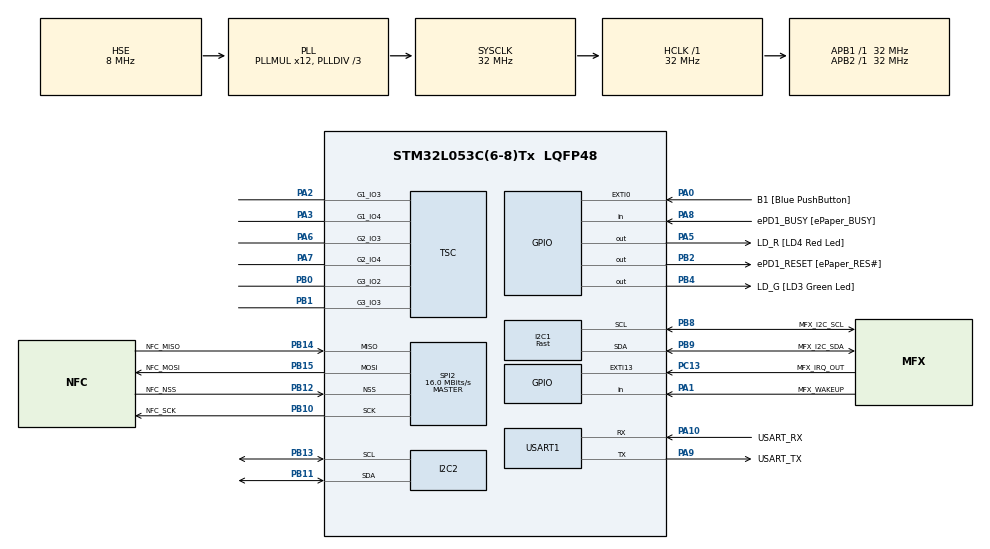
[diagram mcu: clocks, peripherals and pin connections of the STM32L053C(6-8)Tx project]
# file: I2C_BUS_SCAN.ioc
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I2C1.I2C_Speed_Mode=I2C_Fast
I2C1.Speed=400
I2C1.Timing=0x00300F38
I2C2.Timing=0x00707CBB
Mcu.Family=STM32L0
Mcu.Name=STM32L053C(6-8)Tx
Mcu.Package=LQFP48
PA0.GPIO_Label=B1 [Blue PushButton]
PA0.GPIO_ModeDefaultEXTI=GPIO_MODE_EVT_RISING
PA0.GPIO_PuPd=GPIO_NOPULL
PA0.Signal=GPXTI0
PA1.GPIO_Label=MFX_WAKEUP
PA1.Signal=GPIO_Input
PA10.GPIO_Label=USART_RX
PA10.Mode=Asynchronous
PA10.Signal=USART1_RX
PA11.GPIO_Label=USB1_DM
PA11.Signal=USB_DM
PA12.GPIO_Label=USB1_DP
PA12.Signal=USB_DP
PA13.GPIO_Label=SWDIO
PA13.Mode=Serial_Wire
PA13.Signal=SYS_SWDIO
PA14.GPIO_Label=SWCLK
PA14.Mode=Serial_Wire
PA14.Signal=SYS_SWCLK
PA15.GPIO_Label=ePD1_CS [ePaper_CS\#]
PA15.GPIO_Mode=GPIO_MODE_AF_PP
PA15.GPIO_PuPd=GPIO_NOPULL
PA15.GPIO_Speed=GPIO_SPEED_FREQ_LOW
PA15.Signal=SPI1_NSS
PA2.Mode=G1_IO3-Channel
PA2.Signal=TSC_G1_IO3
PA3.Mode=G1_IO4-Sampling
PA3.Signal=TSC_G1_IO4
PA5.GPIO_Label=LD_R [LD4 Red Led]
PA5.GPIO_ModeDefaultOutputPP=GPIO_MODE_OUTPUT_PP
PA5.GPIO_PuPd=GPIO_NOPULL
PA5.GPIO_Speed=GPIO_SPEED_FREQ_LOW
PA5.Signal=GPIO_Output
PA6.Mode=G2_IO3-Channel
PA6.Signal=TSC_G2_IO3
PA7.Mode=G2_IO4-Sampling
PA7.Signal=TSC_G2_IO4
PA8.GPIO_Label=ePD1_BUSY [ePaper_BUSY]
PA8.GPIO_Mode=GPIO_MODE_INPUT
PA8.GPIO_PuPd=GPIO_NOPULL
PA8.Signal=GPIO_Input
PA9.GPIO_Label=USART_TX
PA9.Mode=Asynchronous
PA9.Signal=USART1_TX
PB0.Mode=G3_IO2-Channel
PB0.Signal=TSC_G3_IO2
PB1.Mode=G3_IO3-Sampling
PB1.Signal=TSC_G3_IO3
PB10.GPIO_Label=NFC_SCK
PB10.Mode=Full_Duplex_Master
PB10.Signal=SPI2_SCK
PB11.Mode=I2C
PB11.Signal=I2C2_SDA
PB12.GPIO_Label=NFC_NSS
PB12.Mode=NSS_Signal_Hard_Input
PB12.Signal=SPI2_NSS
PB13.Mode=I2C
PB13.Signal=I2C2_SCL
PB14.GPIO_Label=NFC_MISO
PB14.Mode=Full_Duplex_Master
PB14.Signal=SPI2_MISO
PB15.GPIO_Label=NFC_MOSI
PB15.Mode=Full_Duplex_Master
PB15.Signal=SPI2_MOSI
PB2.GPIO_Label=ePD1_RESET [ePaper_RES\#]
PB2.GPIO_ModeDefaultOutputPP=GPIO_MODE_OUTPUT_PP
PB2.GPIO_PuPd=GPIO_NOPULL
PB2.GPIO_Speed=GPIO_SPEED_FREQ_LOW
PB2.Signal=GPIO_Output
PB3.GPIO_Label=ePD1_SCK [ePaper_SCK]
PB3.GPIO_Mode=GPIO_MODE_AF_PP
PB3.GPIO_PuPd=GPIO_NOPULL
PB3.GPIO_Speed=GPIO_SPEED_FREQ_LOW
PB3.Signal=SPI1_SCK
PB4.GPIO_Label=LD_G [LD3 Green Led]
PB4.GPIO_ModeDefaultOutputPP=GPIO_MODE_OUTPUT_PP
PB4.GPIO_PuPd=GPIO_NOPULL
PB4.GPIO_Speed=GPIO_SPEED_FREQ_LOW
PB4.Signal=GPIO_Output
PB5.GPIO_Label=ePD1_MOSI [ePaper_MOSI]
PB5.GPIO_Mode=GPIO_MODE_AF_PP
PB5.GPIO_PuPd=GPIO_NOPULL
PB5.GPIO_Speed=GPIO_SPEED_FREQ_LOW
PB5.Signal=SPI1_MOSI
PB8.GPIO_Label=MFX_I2C_SCL
PB8.GPIO_Pu=GPIO_PULLUP
PB8.Mode=I2C
PB8.Signal=I2C1_SCL
PB9.GPIO_Label=MFX_I2C_SDA
PB9.GPIO_Pu=GPIO_PULLUP
PB9.Mode=I2C
PB9.Signal=I2C1_SDA
PC13.GPIO_Label=MFX_IRQ_OUT
PC13.Signal=GPXTI13
PC14-OSC32_IN.GPIO_Label=PC14-OSC32_IN
PC14-OSC32_IN.Signal=RCC_OSC32_IN
PC15-OSC32_OUT.GPIO_Label=PC15-OSC32_OUT
PC15-OSC32_OUT.Signal=RCC_OSC32_OUT
PH0-OSC_IN.GPIO_Label=MCO
PH0-OSC_IN.Mode=HSE-External-Clock-Source
PH0-OSC_IN.Signal=RCC_OSC_IN
ProjectManager.HeapSize=0x200
ProjectManager.StackSize=0x400
ProjectManager.TargetToolchain=STM32CubeIDE
RCC.AHBFreq_Value=32000000
RCC.APB1Freq_Value=32000000
RCC.APB1TimFreq_Value=32000000
RCC.APB2Freq_Value=32000000
RCC.APB2TimFreq_Value=32000000
RCC.HCLKFreq_Value=32000000
RCC.HSE_VALUE=8000000
RCC.HSI16_VALUE=16000000
RCC.HSI48MClockSelection=RCC_USBCLKSOURCE_HSI48
RCC.HSI48_VALUE=48000000
RCC.HSI_VALUE=16000000
RCC.LSE_VALUE=32768
RCC.MSI_VALUE=2097000
RCC.PLLDIV=RCC_PLLDIV_3
RCC.PLLMUL=RCC_PLLMUL_12
RCC.PLLSourceVirtual=RCC_PLLSOURCE_HSE
RCC.RTCClockSelectionVirtual=RCC_RTCCLKSOURCE_LSE
RCC.SYSCLKFreq_VALUE=32000000
RCC.SYSCLKSource=RCC_SYSCLKSOURCE_PLLCLK
RCC.VCOOutputFreq_Value=96000000
SPI2.CalculateBaudRate=16.0 MBits/s
SPI2.Direction=SPI_DIRECTION_2LINES
SPI2.Mode=SPI_MODE_MASTER
SPI2.VirtualNSS=VM_NSSHARD
SPI2.VirtualType=VM_MASTER
USART1.VirtualMode-Asynchronous=VM_ASYNC
board=STM32L0538-DISCO

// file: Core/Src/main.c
/* USER CODE BEGIN Header */
/**
  ******************************************************************************
  * @file           : main.c
  * @brief          : Main program body
  ******************************************************************************
  * @attention
  *
  * Copyright (c) 2021 STMicroelectronics.
  * All rights reserved.
  *
  * This software is licensed under terms that can be found in the LICENSE file
  * in the root directory of this software component.
  * If no LICENSE file comes with this software, it is provided AS-IS.
  *
  ******************************************************************************
  */
/* USER CODE END Header */
#include "main.h"

/* USER CODE BEGIN Includes */
#include "printf.h"
//#include "ArduCAM.h"
/* USER CODE END Includes */

I2C_HandleTypeDef hi2c1;
I2C_HandleTypeDef hi2c2;

SPI_HandleTypeDef hspi2;

TSC_HandleTypeDef htsc;

UART_HandleTypeDef huart1;

void SystemClock_Config(void);
static void MX_GPIO_Init(void);
static void MX_I2C1_Init(void);
static void MX_SPI2_Init(void);
static void MX_TSC_Init(void);
static void MX_USART1_UART_Init(void);
static void MX_I2C2_Init(void);

/* USER CODE BEGIN 0 */

uint16_t hi2c1_read_register(uint8_t address_pointer, uint8_t register_pointer)
{
    HAL_StatusTypeDef status = HAL_OK;
    uint16_t return_value = 0;

    status = HAL_I2C_Mem_Read(&hi2c1, address_pointer, (uint16_t)register_pointer, I2C_MEMADD_SIZE_8BIT, &return_value, 2, 100);

    /* Check the communication status */
    if(status != HAL_OK)
    {
    	printf("I2C read from 0x%x failed...\r\n", register_pointer );
    }

    return return_value;
}

void hi2c1_write_register(uint8_t address_pointer,uint8_t register_pointer, uint16_t register_value)
{
    HAL_StatusTypeDef status = HAL_OK;

    status = HAL_I2C_Mem_Write(&hi2c1, address_pointer, (uint16_t)register_pointer, I2C_MEMADD_SIZE_8BIT, (uint8_t*)(&register_value), 2, 100);

    /* Check the communication status */
    if(status != HAL_OK)
    {
        // Error handling, for example re-initialization of the I2C peripheral
    	printf("I2C write to 0x%x failed...\r\n", register_pointer );
    }
}
/* USER CODE END 0 */

int main(void)
{
  /* USER CODE BEGIN 1 */
	// this shouldn't be deleted!

  /* USER CODE END 1 */

  /* MCU Configuration--------------------------------------------------------*/

  /* Reset of all peripherals, Initializes the Flash interface and the Systick. */
  HAL_Init();

  /* Configure the system clock */
  SystemClock_Config();

  /* Initialize all configured peripherals */
  MX_GPIO_Init();
  MX_I2C1_Init();
  MX_SPI2_Init();
  MX_TSC_Init();
  MX_USART1_UART_Init();
  MX_I2C2_Init();
  /* USER CODE BEGIN 2 */
  	printf("\r\n--------\r\n\r\nProject: I2C_BUS_SCAN; V0.1\r\nInitializing UART..\n\rConnected to UART.\r\n");
  	printf("\r\nScanning I2C Bus: \r\n");

    HAL_StatusTypeDef result;
    uint8_t i;
    for (i=1; i<128; i++)
  	{
  	  result = HAL_I2C_IsDeviceReady(&hi2c1, (uint16_t)(i<<1), 2, 2);

  	  if (result == HAL_OK)
  	  {
  		  printf("I2C address found: 0x%X\r\n", (uint16_t)(i<<1));
  	  }
  	}

    uint8_t reg_ptr = 0x00;
    uint16_t buffer;
//    hi2c1_write_register(0x78, reg_ptr, 0x05);

    // 0xEC is a BME280 I had laying around to test I2C
    // Upon power up this should be 0x0
    printf("Reading from 0xF5 on 0xEC\r\n");
    buffer = hi2c1_read_register(0xEC, 0xF5);
    printf("Obtained 0x%x\r\n\n", buffer);
    // write binary 101 to reg
    printf("\nWriting b101 to 0xF5 on 0xEC\r\n");
    hi2c1_write_register(0xEC, 0xF5, 0b101);
    printf("Obtained 0x%x\r\n\n", buffer);
    // read back to assert it's written properly (redundant; hi2c1_write_register should throw an error if it fails)
    printf("\nReading from 0xF5 on 0xEC\r\n");
    buffer = hi2c1_read_register(0xEC, 0xF5);
    printf("Obtained 0x%x\r\n\n", buffer);
    // Read test reg for fun
    printf("\nReading from 0xD0 on 0xEC\r\n");
    buffer = hi2c1_read_register(0xEC, 0xD0);
    printf("Obtained 0x%x\r\n\n", buffer);

    // Try to scan ArduCam chip to no avail :/
    for (int j=0x3000; j<0x3009; j++){
    		printf("Reading from 0x%x on 0x79\r\n", j);
    		buffer = hi2c1_read_register(0x79, j);
    	    printf("Obtained 0x%x\r\n", buffer);

    }

  /* USER CODE END 2 */

  /* Infinite loop */
  while (1)
  {

  }
}

void SystemClock_Config(void)
{
  RCC_OscInitTypeDef RCC_OscInitStruct = {0};
  RCC_ClkInitTypeDef RCC_ClkInitStruct = {0};
  RCC_PeriphCLKInitTypeDef PeriphClkInit = {0};

  /** Configure the main internal regulator output voltage
  */
  __HAL_PWR_VOLTAGESCALING_CONFIG(PWR_REGULATOR_VOLTAGE_SCALE1);
  /** Initializes the RCC Oscillators according to the specified parameters
  * in the RCC_OscInitTypeDef structure.
  */
  RCC_OscInitStruct.OscillatorType = RCC_OSCILLATORTYPE_HSE;
  RCC_OscInitStruct.HSEState = RCC_HSE_BYPASS;
  RCC_OscInitStruct.PLL.PLLState = RCC_PLL_ON;
  RCC_OscInitStruct.PLL.PLLSource = RCC_PLLSOURCE_HSE;
  RCC_OscInitStruct.PLL.PLLMUL = RCC_PLLMUL_12;
  RCC_OscInitStruct.PLL.PLLDIV = RCC_PLLDIV_3;
  if (HAL_RCC_OscConfig(&RCC_OscInitStruct) != HAL_OK)
  {
    Error_Handler();
  }
  /** Initializes the CPU, AHB and APB buses clocks
  */
  RCC_ClkInitStruct.ClockType = RCC_CLOCKTYPE_HCLK|RCC_CLOCKTYPE_SYSCLK
                              |RCC_CLOCKTYPE_PCLK1|RCC_CLOCKTYPE_PCLK2;
  RCC_ClkInitStruct.SYSCLKSource = RCC_SYSCLKSOURCE_PLLCLK;
  RCC_ClkInitStruct.AHBCLKDivider = RCC_SYSCLK_DIV1;
  RCC_ClkInitStruct.APB1CLKDivider = RCC_HCLK_DIV1;
  RCC_ClkInitStruct.APB2CLKDivider = RCC_HCLK_DIV1;

  if (HAL_RCC_ClockConfig(&RCC_ClkInitStruct, FLASH_LATENCY_1) != HAL_OK)
  {
    Error_Handler();
  }
  PeriphClkInit.PeriphClockSelection = RCC_PERIPHCLK_USART1|RCC_PERIPHCLK_I2C1;
  PeriphClkInit.Usart1ClockSelection = RCC_USART1CLKSOURCE_PCLK2;
  PeriphClkInit.I2c1ClockSelection = RCC_I2C1CLKSOURCE_PCLK1;
  if (HAL_RCCEx_PeriphCLKConfig(&PeriphClkInit) != HAL_OK)
  {
    Error_Handler();
  }
}

static void MX_I2C1_Init(void)
{

  hi2c1.Instance = I2C1;
  hi2c1.Init.Timing = 0x00300F38;
  hi2c1.Init.OwnAddress1 = 0;
  hi2c1.Init.AddressingMode = I2C_ADDRESSINGMODE_7BIT;
  hi2c1.Init.DualAddressMode = I2C_DUALADDRESS_DISABLE;
  hi2c1.Init.OwnAddress2 = 0;
  hi2c1.Init.OwnAddress2Masks = I2C_OA2_NOMASK;
  hi2c1.Init.GeneralCallMode = I2C_GENERALCALL_DISABLE;
  hi2c1.Init.NoStretchMode = I2C_NOSTRETCH_DISABLE;
  if (HAL_I2C_Init(&hi2c1) != HAL_OK)
  {
    Error_Handler();
  }
  /** Configure Analogue filter
  */
  if (HAL_I2CEx_ConfigAnalogFilter(&hi2c1, I2C_ANALOGFILTER_ENABLE) != HAL_OK)
  {
    Error_Handler();
  }
  /** Configure Digital filter
  */
  if (HAL_I2CEx_ConfigDigitalFilter(&hi2c1, 0) != HAL_OK)
  {
    Error_Handler();
  }

}

static void MX_I2C2_Init(void)
{

  hi2c2.Instance = I2C2;
  hi2c2.Init.Timing = 0x00707CBB;
  hi2c2.Init.OwnAddress1 = 0;
  hi2c2.Init.AddressingMode = I2C_ADDRESSINGMODE_7BIT;
  hi2c2.Init.DualAddressMode = I2C_DUALADDRESS_DISABLE;
  hi2c2.Init.OwnAddress2 = 0;
  hi2c2.Init.OwnAddress2Masks = I2C_OA2_NOMASK;
  hi2c2.Init.GeneralCallMode = I2C_GENERALCALL_DISABLE;
  hi2c2.Init.NoStretchMode = I2C_NOSTRETCH_DISABLE;
  if (HAL_I2C_Init(&hi2c2) != HAL_OK)
  {
    Error_Handler();
  }
  /** Configure Analogue filter
  */
  if (HAL_I2CEx_ConfigAnalogFilter(&hi2c2, I2C_ANALOGFILTER_ENABLE) != HAL_OK)
  {
    Error_Handler();
  }
  /** Configure Digital filter
  */
  if (HAL_I2CEx_ConfigDigitalFilter(&hi2c2, 0) != HAL_OK)
  {
    Error_Handler();
  }

}

static void MX_SPI2_Init(void)
{

  /* SPI2 parameter configuration*/
  hspi2.Instance = SPI2;
  hspi2.Init.Mode = SPI_MODE_MASTER;
  hspi2.Init.Direction = SPI_DIRECTION_2LINES;
  hspi2.Init.DataSize = SPI_DATASIZE_8BIT;
  hspi2.Init.CLKPolarity = SPI_POLARITY_LOW;
  hspi2.Init.CLKPhase = SPI_PHASE_1EDGE;
  hspi2.Init.NSS = SPI_NSS_HARD_INPUT;
  hspi2.Init.BaudRatePrescaler = SPI_BAUDRATEPRESCALER_2;
  hspi2.Init.FirstBit = SPI_FIRSTBIT_MSB;
  hspi2.Init.TIMode = SPI_TIMODE_DISABLE;
  hspi2.Init.CRCCalculation = SPI_CRCCALCULATION_DISABLE;
  hspi2.Init.CRCPolynomial = 7;
  if (HAL_SPI_Init(&hspi2) != HAL_OK)
  {
    Error_Handler();
  }

}

static void MX_TSC_Init(void)
{

  /** Configure the TSC peripheral
  */
  htsc.Instance = TSC;
  htsc.Init.CTPulseHighLength = TSC_CTPH_2CYCLES;
  htsc.Init.CTPulseLowLength = TSC_CTPL_2CYCLES;
  htsc.Init.SpreadSpectrum = DISABLE;
  htsc.Init.SpreadSpectrumDeviation = 1;
  htsc.Init.SpreadSpectrumPrescaler = TSC_SS_PRESC_DIV1;
  htsc.Init.PulseGeneratorPrescaler = TSC_PG_PRESC_DIV4;
  htsc.Init.MaxCountValue = TSC_MCV_8191;
  htsc.Init.IODefaultMode = TSC_IODEF_OUT_PP_LOW;
  htsc.Init.SynchroPinPolarity = TSC_SYNC_POLARITY_FALLING;
  htsc.Init.AcquisitionMode = TSC_ACQ_MODE_NORMAL;
  htsc.Init.MaxCountInterrupt = DISABLE;
  htsc.Init.ChannelIOs = TSC_GROUP1_IO3|TSC_GROUP2_IO3|TSC_GROUP3_IO2;
  htsc.Init.ShieldIOs = 0;
  htsc.Init.SamplingIOs = TSC_GROUP1_IO4|TSC_GROUP2_IO4|TSC_GROUP3_IO3;
  if (HAL_TSC_Init(&htsc) != HAL_OK)
  {
    Error_Handler();
  }

}

static void MX_USART1_UART_Init(void)
{

  huart1.Instance = USART1;
  huart1.Init.BaudRate = 115200;
  huart1.Init.WordLength = UART_WORDLENGTH_8B;
  huart1.Init.StopBits = UART_STOPBITS_1;
  huart1.Init.Parity = UART_PARITY_NONE;
  huart1.Init.Mode = UART_MODE_TX_RX;
  huart1.Init.HwFlowCtl = UART_HWCONTROL_NONE;
  huart1.Init.OverSampling = UART_OVERSAMPLING_16;
  huart1.Init.OneBitSampling = UART_ONE_BIT_SAMPLE_DISABLE;
  huart1.AdvancedInit.AdvFeatureInit = UART_ADVFEATURE_NO_INIT;
  if (HAL_UART_Init(&huart1) != HAL_OK)
  {
    Error_Handler();
  }

}

static void MX_GPIO_Init(void)
{
  GPIO_InitTypeDef GPIO_InitStruct = {0};

  /* GPIO Ports Clock Enable */
  __HAL_RCC_GPIOC_CLK_ENABLE();
  __HAL_RCC_GPIOH_CLK_ENABLE();
  __HAL_RCC_GPIOA_CLK_ENABLE();
  __HAL_RCC_GPIOB_CLK_ENABLE();

  /*Configure GPIO pin Output Level */
  HAL_GPIO_WritePin(LD_R_GPIO_Port, LD_R_Pin, GPIO_PIN_RESET);

  /*Configure GPIO pin Output Level */
  HAL_GPIO_WritePin(GPIOB, ePD1_RESET_Pin|LD_G_Pin, GPIO_PIN_RESET);

  /*Configure GPIO pin : MFX_IRQ_OUT_Pin */
  GPIO_InitStruct.Pin = MFX_IRQ_OUT_Pin;
  GPIO_InitStruct.Mode = GPIO_MODE_IT_RISING;
  GPIO_InitStruct.Pull = GPIO_NOPULL;
  HAL_GPIO_Init(MFX_IRQ_OUT_GPIO_Port, &GPIO_InitStruct);

  /*Configure GPIO pin : B1_Pin */
  GPIO_InitStruct.Pin = B1_Pin;
  GPIO_InitStruct.Mode = GPIO_MODE_EVT_RISING;
  GPIO_InitStruct.Pull = GPIO_NOPULL;
  HAL_GPIO_Init(B1_GPIO_Port, &GPIO_InitStruct);

  /*Configure GPIO pins : MFX_WAKEUP_Pin ePD1_BUSY_Pin */
  GPIO_InitStruct.Pin = MFX_WAKEUP_Pin|ePD1_BUSY_Pin;
  GPIO_InitStruct.Mode = GPIO_MODE_INPUT;
  GPIO_InitStruct.Pull = GPIO_NOPULL;
  HAL_GPIO_Init(GPIOA, &GPIO_InitStruct);

  /*Configure GPIO pin : LD_R_Pin */
  GPIO_InitStruct.Pin = LD_R_Pin;
  GPIO_InitStruct.Mode = GPIO_MODE_OUTPUT_PP;
  GPIO_InitStruct.Pull = GPIO_NOPULL;
  GPIO_InitStruct.Speed = GPIO_SPEED_FREQ_LOW;
  HAL_GPIO_Init(LD_R_GPIO_Port, &GPIO_InitStruct);

  /*Configure GPIO pins : ePD1_RESET_Pin LD_G_Pin */
  GPIO_InitStruct.Pin = ePD1_RESET_Pin|LD_G_Pin;
  GPIO_InitStruct.Mode = GPIO_MODE_OUTPUT_PP;
  GPIO_InitStruct.Pull = GPIO_NOPULL;
  GPIO_InitStruct.Speed = GPIO_SPEED_FREQ_LOW;
  HAL_GPIO_Init(GPIOB, &GPIO_InitStruct);

  /*Configure GPIO pin : ePD1_CS_Pin */
  GPIO_InitStruct.Pin = ePD1_CS_Pin;
  GPIO_InitStruct.Mode = GPIO_MODE_AF_PP;
  GPIO_InitStruct.Pull = GPIO_NOPULL;
  GPIO_InitStruct.Speed = GPIO_SPEED_FREQ_LOW;
  GPIO_InitStruct.Alternate = GPIO_AF0_SPI1;
  HAL_GPIO_Init(ePD1_CS_GPIO_Port, &GPIO_InitStruct);

  /*Configure GPIO pins : ePD1_SCK_Pin ePD1_MOSI_Pin */
  GPIO_InitStruct.Pin = ePD1_SCK_Pin|ePD1_MOSI_Pin;
  GPIO_InitStruct.Mode = GPIO_MODE_AF_PP;
  GPIO_InitStruct.Pull = GPIO_NOPULL;
  GPIO_InitStruct.Speed = GPIO_SPEED_FREQ_LOW;
  GPIO_InitStruct.Alternate = GPIO_AF0_SPI1;
  HAL_GPIO_Init(GPIOB, &GPIO_InitStruct);

}

void Error_Handler(void)
{
  __disable_irq();
  while (1)
  {
  }
}
